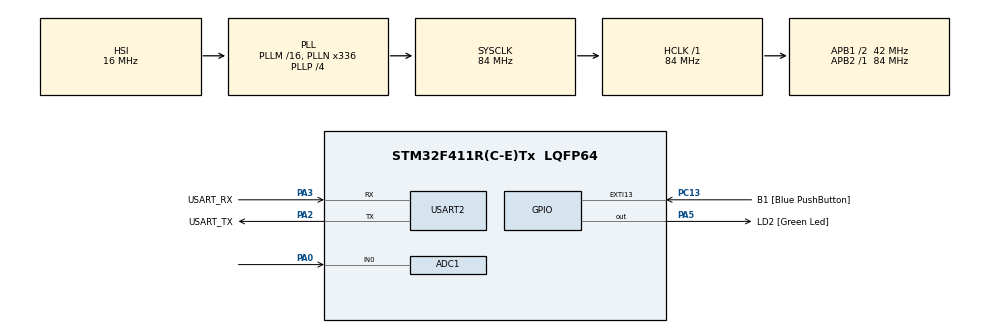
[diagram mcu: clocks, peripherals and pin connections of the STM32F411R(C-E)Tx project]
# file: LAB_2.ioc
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ADC1.Channel-0\#ChannelRegularConversion=ADC_CHANNEL_0
ADC1.Channel-1\#ChannelRegularConversion=ADC_CHANNEL_TEMPSENSOR
ADC1.ContinuousConvMode=ENABLE
ADC1.DMAContinuousRequests=ENABLE
ADC1.InjNumberOfConversion=0
ADC1.NbrOfConversion=2
ADC1.NbrOfConversionFlag=1
ADC1.Rank-0\#ChannelRegularConversion=1
ADC1.Rank-1\#ChannelRegularConversion=2
ADC1.SamplingTime-0\#ChannelRegularConversion=ADC_SAMPLETIME_480CYCLES
ADC1.SamplingTime-1\#ChannelRegularConversion=ADC_SAMPLETIME_480CYCLES
ADC1.ScanConvMode=ENABLE
ADC1.master=1
Dma.ADC1.0.Direction=DMA_PERIPH_TO_MEMORY
Dma.ADC1.0.FIFOMode=DMA_FIFOMODE_DISABLE
Dma.ADC1.0.Instance=DMA2_Stream0
Dma.ADC1.0.MemDataAlignment=DMA_MDATAALIGN_HALFWORD
Dma.ADC1.0.MemInc=DMA_MINC_ENABLE
Dma.ADC1.0.Mode=DMA_CIRCULAR
Dma.ADC1.0.PeriphDataAlignment=DMA_PDATAALIGN_HALFWORD
Dma.ADC1.0.PeriphInc=DMA_PINC_DISABLE
Dma.ADC1.0.Priority=DMA_PRIORITY_LOW
Dma.Request0=ADC1
Mcu.Family=STM32F4
Mcu.Name=STM32F411R(C-E)Tx
Mcu.Package=LQFP64
NVIC.DMA2_Stream0_IRQn=true\:0\:0\:false\:false\:true\:false\:true\:true
NVIC.PriorityGroup=NVIC_PRIORITYGROUP_0
PA0-WKUP.Signal=ADCx_IN0
PA13.GPIO_Label=TMS
PA13.Mode=Serial_Wire
PA13.Signal=SYS_JTMS-SWDIO
PA14.GPIO_Label=TCK
PA14.Mode=Serial_Wire
PA14.Signal=SYS_JTCK-SWCLK
PA2.GPIO_Label=USART_TX
PA2.Mode=Asynchronous
PA2.Signal=USART2_TX
PA3.GPIO_Label=USART_RX
PA3.Mode=Asynchronous
PA3.Signal=USART2_RX
PA5.GPIO_Label=LD2 [Green Led]
PA5.Signal=GPIO_Output
PB3.GPIO_Label=SWO
PB3.Signal=SYS_JTDO-SWO
PC13-ANTI_TAMP.GPIO_Label=B1 [Blue PushButton]
PC13-ANTI_TAMP.GPIO_ModeDefaultEXTI=GPIO_MODE_IT_FALLING
PC13-ANTI_TAMP.Signal=GPXTI13
PC14-OSC32_IN.Mode=LSE-External-Oscillator
PC14-OSC32_IN.Signal=RCC_OSC32_IN
PC15-OSC32_OUT.Mode=LSE-External-Oscillator
PC15-OSC32_OUT.Signal=RCC_OSC32_OUT
PH0\ -\ OSC_IN.Mode=HSE-External-Clock-Source
PH0\ -\ OSC_IN.Signal=RCC_OSC_IN
PH1\ -\ OSC_OUT.Mode=HSE-External-Clock-Source
PH1\ -\ OSC_OUT.Signal=RCC_OSC_OUT
ProjectManager.HeapSize=0x200
ProjectManager.StackSize=0x400
ProjectManager.TargetToolchain=STM32CubeIDE
RCC.48MHZClocksFreq_Value=84000000
RCC.AHBFreq_Value=84000000
RCC.APB1CLKDivider=RCC_HCLK_DIV2
RCC.APB1Freq_Value=42000000
RCC.APB1TimFreq_Value=84000000
RCC.APB2Freq_Value=84000000
RCC.APB2TimFreq_Value=84000000
RCC.CortexFreq_Value=84000000
RCC.FLatency-AdvancedSettings=FLASH_LATENCY_2
RCC.HCLKFreq_Value=84000000
RCC.HSE_VALUE=8000000
RCC.HSI_VALUE=16000000
RCC.PLLN=336
RCC.PLLP=RCC_PLLP_DIV4
RCC.SYSCLKFreq_VALUE=84000000
RCC.SYSCLKSource=RCC_SYSCLKSOURCE_PLLCLK
RCC.VCOOutputFreq_Value=336000000
SH.ADCx_IN0.0=ADC1_IN0,IN0
USART2.VirtualMode=VM_ASYNC
VP_ADC1_TempSens_Input.Mode=IN-TempSens
board=NUCLEO-F411RE

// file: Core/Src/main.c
/* USER CODE BEGIN Header */
/**
  ******************************************************************************
  * @file           : main.c
  * @brief          : Main program body
  ******************************************************************************
  * @attention
  *
  * Copyright (c) 2023 STMicroelectronics.
  * All rights reserved.
  *
  * This software is licensed under terms that can be found in the LICENSE file
  * in the root directory of this software component.
  * If no LICENSE file comes with this software, it is provided AS-IS.
  *
  ******************************************************************************
  */
/* USER CODE END Header */
#include "main.h"

ADC_HandleTypeDef hadc1;
DMA_HandleTypeDef hdma_adc1;

UART_HandleTypeDef huart2;

/* USER CODE BEGIN PV */
float Voltage;
float Kelvin;
uint16_t Display_Voltage;
uint16_t Display_Temp;
uint16_t OutputRaw[20];

//typedef struct
//{
//	uint16_t in0;
//	uint16_t temp;
//}AdcDMAStructure;
//AdcDMAStructure AdcDMA[10];

/* USER CODE END PV */

void SystemClock_Config(void);
static void MX_GPIO_Init(void);
static void MX_DMA_Init(void);
static void MX_USART2_UART_Init(void);
static void MX_ADC1_Init(void);

int main(void)
{

  /* MCU Configuration--------------------------------------------------------*/

  /* Reset of all peripherals, Initializes the Flash interface and the Systick. */
  HAL_Init();

  /* Configure the system clock */
  SystemClock_Config();

  /* Initialize all configured peripherals */
  MX_GPIO_Init();
  MX_DMA_Init();
  MX_USART2_UART_Init();
  MX_ADC1_Init();
  /* USER CODE BEGIN 2 */
 // HAL_ADC_Start_DMA(&hadc1,OutputRaw,20);
  /* USER CODE END 2 */

  /* Infinite loop */
  /* USER CODE BEGIN WHILE */

  while (1)
  {
	 // static uint32_t timestamp = 0;
	  //if(HAL_GetTick() >= timestamp)
	  //{
		//  if(HAL_GetTick() >= timestamp) + 1000;
		  //VariableConverter();
	 // }

    /* USER CODE END WHILE */

    /* USER CODE BEGIN 3 */
  }
//  HAL_Delay(10000);
  /* USER CODE END 3 */
}

void SystemClock_Config(void)
{
  RCC_OscInitTypeDef RCC_OscInitStruct = {0};
  RCC_ClkInitTypeDef RCC_ClkInitStruct = {0};

  /** Configure the main internal regulator output voltage
  */
  __HAL_RCC_PWR_CLK_ENABLE();
  __HAL_PWR_VOLTAGESCALING_CONFIG(PWR_REGULATOR_VOLTAGE_SCALE1);

  /** Initializes the RCC Oscillators according to the specified parameters
  * in the RCC_OscInitTypeDef structure.
  */
  RCC_OscInitStruct.OscillatorType = RCC_OSCILLATORTYPE_HSI;
  RCC_OscInitStruct.HSIState = RCC_HSI_ON;
  RCC_OscInitStruct.HSICalibrationValue = RCC_HSICALIBRATION_DEFAULT;
  RCC_OscInitStruct.PLL.PLLState = RCC_PLL_ON;
  RCC_OscInitStruct.PLL.PLLSource = RCC_PLLSOURCE_HSI;
  RCC_OscInitStruct.PLL.PLLM = 16;
  RCC_OscInitStruct.PLL.PLLN = 336;
  RCC_OscInitStruct.PLL.PLLP = RCC_PLLP_DIV4;
  RCC_OscInitStruct.PLL.PLLQ = 4;
  if (HAL_RCC_OscConfig(&RCC_OscInitStruct) != HAL_OK)
  {
    Error_Handler();
  }

  /** Initializes the CPU, AHB and APB buses clocks
  */
  RCC_ClkInitStruct.ClockType = RCC_CLOCKTYPE_HCLK|RCC_CLOCKTYPE_SYSCLK
                              |RCC_CLOCKTYPE_PCLK1|RCC_CLOCKTYPE_PCLK2;
  RCC_ClkInitStruct.SYSCLKSource = RCC_SYSCLKSOURCE_PLLCLK;
  RCC_ClkInitStruct.AHBCLKDivider = RCC_SYSCLK_DIV1;
  RCC_ClkInitStruct.APB1CLKDivider = RCC_HCLK_DIV2;
  RCC_ClkInitStruct.APB2CLKDivider = RCC_HCLK_DIV1;

  if (HAL_RCC_ClockConfig(&RCC_ClkInitStruct, FLASH_LATENCY_2) != HAL_OK)
  {
    Error_Handler();
  }
}

static void MX_ADC1_Init(void)
{

  ADC_ChannelConfTypeDef sConfig = {0};

  /** Configure the global features of the ADC (Clock, Resolution, Data Alignment and number of conversion)
  */
  hadc1.Instance = ADC1;
  hadc1.Init.ClockPrescaler = ADC_CLOCK_SYNC_PCLK_DIV4;
  hadc1.Init.Resolution = ADC_RESOLUTION_12B;
  hadc1.Init.ScanConvMode = ENABLE;
  hadc1.Init.ContinuousConvMode = ENABLE;
  hadc1.Init.DiscontinuousConvMode = DISABLE;
  hadc1.Init.ExternalTrigConvEdge = ADC_EXTERNALTRIGCONVEDGE_NONE;
  hadc1.Init.ExternalTrigConv = ADC_SOFTWARE_START;
  hadc1.Init.DataAlign = ADC_DATAALIGN_RIGHT;
  hadc1.Init.NbrOfConversion = 2;
  hadc1.Init.DMAContinuousRequests = ENABLE;
  hadc1.Init.EOCSelection = ADC_EOC_SINGLE_CONV;
  if (HAL_ADC_Init(&hadc1) != HAL_OK)
  {
    Error_Handler();
  }

  /** Configure for the selected ADC regular channel its corresponding rank in the sequencer and its sample time.
  */
  sConfig.Channel = ADC_CHANNEL_0;
  sConfig.Rank = 1;
  sConfig.SamplingTime = ADC_SAMPLETIME_480CYCLES;
  if (HAL_ADC_ConfigChannel(&hadc1, &sConfig) != HAL_OK)
  {
    Error_Handler();
  }

  /** Configure for the selected ADC regular channel its corresponding rank in the sequencer and its sample time.
  */
  sConfig.Channel = ADC_CHANNEL_TEMPSENSOR;
  sConfig.Rank = 2;
  if (HAL_ADC_ConfigChannel(&hadc1, &sConfig) != HAL_OK)
  {
    Error_Handler();
  }

}

static void MX_USART2_UART_Init(void)
{

  huart2.Instance = USART2;
  huart2.Init.BaudRate = 115200;
  huart2.Init.WordLength = UART_WORDLENGTH_8B;
  huart2.Init.StopBits = UART_STOPBITS_1;
  huart2.Init.Parity = UART_PARITY_NONE;
  huart2.Init.Mode = UART_MODE_TX_RX;
  huart2.Init.HwFlowCtl = UART_HWCONTROL_NONE;
  huart2.Init.OverSampling = UART_OVERSAMPLING_16;
  if (HAL_UART_Init(&huart2) != HAL_OK)
  {
    Error_Handler();
  }

}

static void MX_DMA_Init(void)
{

  /* DMA controller clock enable */
  __HAL_RCC_DMA2_CLK_ENABLE();

  /* DMA interrupt init */
  /* DMA2_Stream0_IRQn interrupt configuration */
  HAL_NVIC_SetPriority(DMA2_Stream0_IRQn, 0, 0);
  HAL_NVIC_EnableIRQ(DMA2_Stream0_IRQn);

}

static void MX_GPIO_Init(void)
{
  GPIO_InitTypeDef GPIO_InitStruct = {0};

  /* GPIO Ports Clock Enable */
  __HAL_RCC_GPIOC_CLK_ENABLE();
  __HAL_RCC_GPIOH_CLK_ENABLE();
  __HAL_RCC_GPIOA_CLK_ENABLE();
  __HAL_RCC_GPIOB_CLK_ENABLE();

  /*Configure GPIO pin Output Level */
  HAL_GPIO_WritePin(LD2_GPIO_Port, LD2_Pin, GPIO_PIN_RESET);

  /*Configure GPIO pin : B1_Pin */
  GPIO_InitStruct.Pin = B1_Pin;
  GPIO_InitStruct.Mode = GPIO_MODE_IT_FALLING;
  GPIO_InitStruct.Pull = GPIO_NOPULL;
  HAL_GPIO_Init(B1_GPIO_Port, &GPIO_InitStruct);

  /*Configure GPIO pin : LD2_Pin */
  GPIO_InitStruct.Pin = LD2_Pin;
  GPIO_InitStruct.Mode = GPIO_MODE_OUTPUT_PP;
  GPIO_InitStruct.Pull = GPIO_NOPULL;
  GPIO_InitStruct.Speed = GPIO_SPEED_FREQ_LOW;
  HAL_GPIO_Init(LD2_GPIO_Port, &GPIO_InitStruct);

}

/* USER CODE BEGIN 4 */

void VariableConverter()
{
	for(int i=0;i<20;i++)
	{
		if(i%2 == 0)
		{
			Voltage = Voltage + OutputRaw[i];
		}
		else
		{
			Kelvin = Kelvin + OutputRaw[i];
		}
	}

	Voltage = ((Voltage/10)*3.3*(1000)/(4096)*2);
	Kelvin = ((((((Kelvin/10) * 3.3)/(4096))-0.76)/0.0025)+25)+273;
	Display_Voltage = Voltage;
	Display_Temp = Kelvin;
	Voltage = 0;
	Kelvin = 0;

	//4096 : resolution
	//0.76(v) : Voltage at room temperature C
	//0.0025 : Average slope 2.5mV/C
	//273.15 : to change Celsius to Kelvin
}
void HAL_ADC_ConvCpltCallback(ADC_HandleTypeDef* hadc)
{
//	AdcRawData = HAL_ADC_GetValue(&hadc1);
}

/* USER CODE END 4 */

void Error_Handler(void)
{
  __disable_irq();
  while (1)
  {
  }
}
